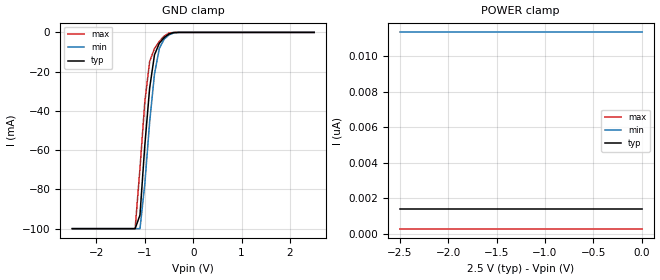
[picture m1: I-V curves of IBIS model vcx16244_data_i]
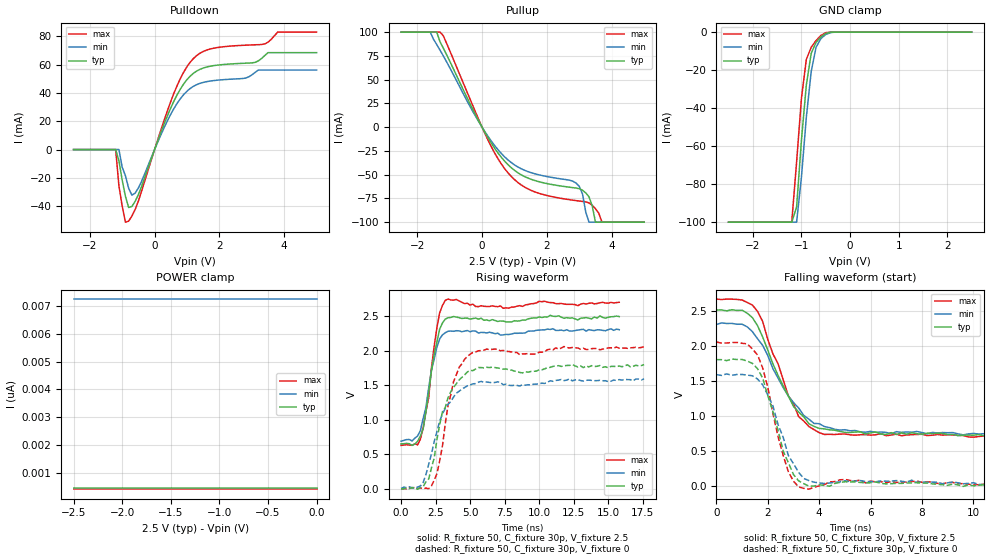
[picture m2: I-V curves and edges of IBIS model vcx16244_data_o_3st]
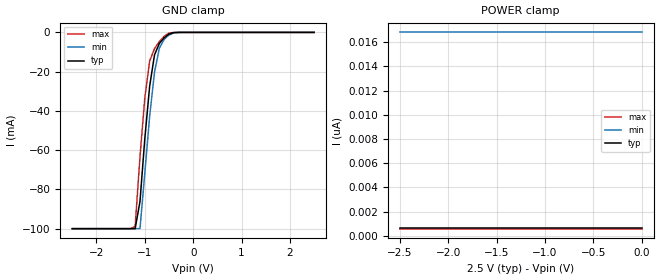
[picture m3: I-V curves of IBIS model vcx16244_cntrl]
|   ON Semiconductor Corporation
|   IBIS Model of 74VCX16244DT
|   Low Voltage 16-Bit Buffer/Line Driver
|   TSSOP_48 (DT) Package Type
[IBIS Ver]   3.2
[Comment Char]   |_char
[File name]   74vcx16244dt_230.ibs
[File Rev]   1.0
[Date]   11/18/02
[Source]
From lab measurements at ON Semiconductor
[Notes]
Created by Duane Mattheisen
Modeling Support Engineer
| This model represents the 74VCX16244DT where 2.30 <= Vcc =< 2.70
[Disclaimer]
ON Semiconductor Corporation hereby grants
the user of this IBIS model a license to use this IBIS
model under the following terms. This license in non-exclusive
and non-transferable. Before using this IBIS model. After reading
the terms and conditions of this license, the user either must accept
these terms, or the IBIS model should be returned to ON within 30 days.
     The user is hereby granted a license to use the
IBIS model. This shall not be construed as a right to sell, or otherwise
profit either by leasing or renting this software.
     The user may modify the IBIS model to suit his specific applications
but rights to derivative works and such modifications shall belong to
ON Semiconductor.
     This IBIS model is provided on an "as is" basis. ON Semiconductor
makes absolutely no warranty with respect to the information contained
herein. By use of this IBIS model, the user assumes full risk as to the
quality and suitability of the model to his particular use, and by using
this model assumes the entire risk. Under all circumstances the user shall
not hold ON Semiconductor liable in any way for the results obtained. ON
Semiconductor reserves the right to make to improve the model for reliability,
function, or design. ON Semiconductor does not convey any license under patent
rights or any other intellectual property rights, including those of third
parties.
ON Semiconductor is not obligated to provide maintenance or support
for the licensed IBIS model.
Cont ON at ATTN:LOGIC APPLICATIONS/IBIS MODEL.
5005 E. McDowell Road, Phoenix AZ 85008
[Copyright]
(c) 2002 ON Semiconductor Corp.
[Component]   74VCX16244
Si_location Pin
Timing_location Pin
[Manufacturer]   ON Semiconductor Corp.
[Package]
R_pkg   130m   100m   140m
L_pkg   3.06n   1.37n   3.57n
C_pkg   0.15p   0.10p   0.20p
[Pin] signal_name   model_name   R_pin   L_pin   C_pin
1   OE1   vcx16244_cntrl   140m   3.56n   .2p
2   O0   vcx16244_data_o_3st  130m   3.34n   .15p
3   o1   vcx16244_data_o_3st  130m   3.07n   .15p
4   GND   GND   130m   2.62n   .13p
5   O2   vcx16244_data_o_3st  120m   2.23n   .1p
6   O3   vcx16244_data_o_3st  120m   1.77n   .1p
7   VCC   POWER   110m   1.65n   .1p
8   O4   vcx16244_data_o_3st  100m   1.59n   .1p
9   O5   vcx16244_data_o_3st  100m   1.53n   .1p
10   GND   GND   100m   1.49n   .1p
11   O6   vcx16244_data_o_3st  100m   1.44n   .1p
12   O7   vcx16244_data_o_3st  100m   1.36n   .1p
13   O8   vcx16244_data_o_3st  100m   1.37n   .1p
14   O9   vcx16244_data_o_3st  100m   1.44n   .1p
15   GND   GND   100m   1.48n   .1p
16   O10   vcx16244_data_o_3st  100m   1.54n   .1p
17   O11   vcx16244_data_o_3st  100m   1.58n   .1p
18   VCC   POWER   110m   1.65n   .1p
19   O12   vcx16244_data_o_3st  120m   1.76n   .1p
20   O13   vcx16244_data_o_3st  120m   2.22n   .1p
21   GND   GND   130m   2.62n   .12p
22   O14   vcx16244_data_o_3st  130m   3.05n   .15p
23   O15   vcx16244_data_o_3st  130m   3.34n   .15p
24   OE4   vcx16244_cntrl   140m   3.57n   .2p
25   OE3   vcx16244_cntrl   140m   3.56n   .2p
26   I15   vcx16244_data_i   130m   3.34n   .25p
27   I14   vcx16244_data_i   130m   3.06n   .15p
28   GND   GND   130m   2.63n   .12p
29   I13   vcx16244_data_i   120m   2.23n   .1p
30   I12   vcx16244_data_i   120m   1.76n   .1p
31   VCC   POWER   110m   1.66n   .1p
32   I11   vcx16244_data_i   100m   1.59n   .1p
33   I10   vcx16244_data_i   100m   1.53n   .1p
34   GND   GND   100m   1.49n   .1p
35   I9   vcx16244_data_i   100m   1.45n   .1p
36   I8   vcx16244_data_i   100m   1.37n   .1p
37   I7   vcx16244_data_i   100m   1.37n   .1p
38   I6   vcx16244_data_i   100m   1.43n   .1p
39   GND   GND   100m   1.49n   .1p
40   I5   vcx16244_data_i   100m   1.54n   .1p
41   I4   vcx16244_data_i   100m   1.58n   .1p
42   VCC   POWER   110m   1.65n   .1p
43   I3   vcx16244_data_i   120m   1.76n   .1p
44   I2   vcx16244_data_i   120m   2.22n   .1p
45   GND   GND   130m   2.62n   .12p
46   I1   vcx16244_data_i   130m   3.05n   .15p
47   I0   vcx16244_data_i   130m   3.34n   .25p
48   OE2   vcx16244_cntrl   140m   3.58n   .2p
| Models and submodels in the file (3): vcx16244_data_i (Input), vcx16244_data_o_3st (3-state), vcx16244_cntrl (Input)
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[Model]   vcx16244_data_i
Model_type Input
Vinh=1.6
Vinl=0.7
C_comp   6p   6p   6p
[Temperature Range] 25   85   -40
[Voltage Range]   2.5   2.3   2.7
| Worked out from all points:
|   GND clamp passes 1 mA (typ) near -0.51 V on its own axis
[GND Clamp]
| VIN   IIN   IIN   IIN
-2.5V     -100mA     -100mA     -100mA
-1.2V     -100mA     -100mA     -100mA
-1.1V     -93.06mA   -100mA     -69.22mA
-1V       -57.53mA   -77.31mA   -35.45mA
-900mV    -28.31mA   -45.62mA   -14.76mA
-800mV    -11.42mA   -21.22mA   -8.219mA
-700mV    -5.531mA   -8.129mA   -4.574mA
-600mV    -2.616mA   -3.454mA   -1.848mA
-500mV    -786.4uA   -1.282mA   -342.5uA
-400mV    -92.71uA   -263.6uA   -14.63uA
-300mV    -4.006uA   -23.28uA   -208.6nA
2.5V      545.7pA    567.6pA    546.5pA
[POWER Clamp]
| VIN   IIN   IIN   IIN
-2.5V     1.37nA     11.33nA    279pA
-2.4V     1.37nA     11.33nA    279pA
-2.3V     1.37nA     11.33nA    279pA
0V        1.37nA     11.33nA    279pA
|Vmeasure is Vcc/2
[Model]   vcx16244_data_o_3st
Model_type 3-state
Enable Active-Low
Polarity Non-Inverting
Vref=0
Vmeas=1.25
Rref=500
Cref=30p
C_comp   7p   7p   7p
[Temperature Range] 25   85   -40
[Voltage Range]   2.5   2.3   2.7
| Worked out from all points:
|   slope of the pulldown table from 0 to 0.375 V, typ, clamps not added: 16.5 ohm
|   slope of the pullup table from 0 to 0.375 V, typ, clamps not added: 17.5 ohm
|   GND clamp passes 1 mA (typ) near -0.51 V on its own axis
|   falling waveform, R_fixture 50, C_fixture 30p, V_fixture 2.5: 20-80 % time 1.42ns typ, 1.53ns min, 1.25ns max; typ from 2.52 V to 0.691 V
|   falling waveform, R_fixture 50, C_fixture 30p, V_fixture 0: 20-80 % time 882ps typ, 949ps min, 783ps max; typ from 1.81 V to 0 V
|   rising waveform, R_fixture 50, C_fixture 30p, V_fixture 2.5: 20-80 % time 874ps typ, 925ps min, 827ps max; typ from 0.651 V to 2.49 V
|   rising waveform, R_fixture 50, C_fixture 30p, V_fixture 0: 20-80 % time 1.42ns typ, 1.68ns min, 1.19ns max; typ from 0.001 V to 1.8 V
[Pullup]
| VOUT   IOUT   IOUT   IOUT
-2.5V     99.99mA    99.99mA    99.99mA
-1.6V     99.99mA    99.99mA    99.99mA
-1.4V     99.99mA    86.93mA    99.99mA
-1.2V     83.37mA    75.17mA    96.38mA
300mV     -17.63mA   -15.38mA   -21.57mA
1.1V      -47.88mA   -41.81mA   -58.08mA
2.9V      -64.07mA   -58.87mA   -77.28mA
3.1V      -66.38mA   -70.44mA   -78.15mA
3.3V      -73.28mA   -100mA     -79.73mA
3.5V      -100mA     -100mA     -85.81mA
3.7V      -100mA     -100mA     -100mA
5V        -100mA     -100mA     -100mA
[Pulldown]
| VOUT   IOUT   IOUT   IOUT
-2.5V     998.4nA    998.4nA    0A
-1.2V     998.4nA    998.4nA    0A
-1.1V     -7.964mA   -1.997uA   -25.65mA
-1V       -21.43mA   -12.4mA    -39.83mA
-900mV    -32.97mA   -18.41mA   -51.29mA
-800mV    -40.92mA   -27.36mA   -50.55mA
-600mV    -36.59mA   -30.79mA   -42.36mA
600mV     34.35mA    29.07mA    39.93mA
1.2V      53.86mA    44.67mA    64.3mA
3.4V      66.38mA    56.12mA    74.58mA
3.8V      68.42mA    56.12mA    82.94mA
5V        68.42mA    56.12mA    82.94mA
[GND Clamp]
| VIN   IIN   IIN   IIN
-2.5V     -100mA     -100mA     -100mA
-1.2V     -100mA     -100mA     -100mA
-1.1V     -92.03mA   -100mA     -68.33mA
-1V       -56.69mA   -76.15mA   -34.71mA
-900mV    -27.85mA   -44.87mA   -14.38mA
-800mV    -11.2mA    -20.81mA   -8.006mA
-700mV    -5.438mA   -8.004mA   -4.461mA
-600mV    -2.547mA   -3.372mA   -1.774mA
-500mV    -755.7uA   -1.243mA   -317.2uA
-400mV    -86.16uA   -250.1uA   -12.76uA
-300mV    -3.507uA   -20.89uA   -167.7nA
2.5V      848.2pA    796.1pA    178.7pA
[POWER Clamp]
| VIN   IIN   IIN   IIN
-2.5V     447.2pA    7.254nA    408.3pA
-2.4V     447.2pA    7.254nA    408.3pA
-2.3V     447.2pA    7.254nA    408.3pA
0V        447.2pA    7.254nA    408.3pA
[Ramp]
dV/dt_r   1.113E+0/1.480E-9   9.600E-1/1.680E-9   1.180E+0/1.220E-9
dV/dt_f   1.110E+0/1.460E-9   9.900E-1/1.640E-9   1.210E+0/1.260E-9
[Falling Waveform]
R_fixture=50
C_fixture=30p
V_fixture=2.5
V_fixture_min=2.3
V_fixture_max=2.7
| Time   Typ   Min   Max
| SECONDS   VOLTS   VOLTS   VOLTS
0s        2.518V     2.311V     2.676V
1ns       2.515V     2.315V     2.662V
1.6ns     2.295V     2.107V     2.5V
2.4ns     1.579V     1.542V     1.747V
2.8ns     1.282V     1.284V     1.287V
3.2ns     1.053V     1.112V     988.1mV
3.6ns     885.9mV    951.4mV    846.4mV
4.2ns     812.3mV    846.2mV    733.3mV
6.8ns     759.1mV    742.8mV    725.2mV
16.6ns    690.9mV    709.4mV    665.6mV
[Falling Waveform]
R_fixture=50
C_fixture=30p
V_fixture=0
| Time   Typ   Min   Max
| SECONDS   VOLTS   VOLTS   VOLTS
0s        1.806V     1.592V     2.06V
1.2ns     1.786V     1.585V     2.034V
1.6ns     1.677V     1.529V     1.874V
2ns       1.289V     1.298V     1.408V
2.2ns     1.058V     1.141V     1.033V
2.6ns     491.1mV    690.2mV    429.1mV
2.8ns     327.2mV    429.2mV    197.5mV
3.2ns     66.66mV    188.5mV    -19.76mV
4.2ns     860.8uV    29.9mV     13.04mV
15.8ns    79.35uV    8.2mV      6.128mV
[Rising Waveform]
R_fixture=50
C_fixture=30p
V_fixture=2.5
V_fixture_min=2.3
V_fixture_max=2.7
| Time   Typ   Min   Max
| SECONDS   VOLTS   VOLTS   VOLTS
0s        651.4mV    690.2mV    629.1mV
800ps     629.2mV    693.9mV    630.4mV
1.4ns     766.1mV    842.4mV    719.2mV
1.6ns     867.7mV    1.019V     881.6mV
2ns       1.395V     1.463V     1.316V
2.2ns     1.708V     1.717V     1.751V
2.6ns     2.128V     2.055V     2.338V
3.2ns     2.458V     2.26V      2.73V
7.4ns     2.429V     2.23V      2.614V
15.8ns    2.494V     2.304V     2.702V
[Rising Waveform]
R_fixture=50
C_fixture=30p
V_fixture=0
| Time   Typ   Min   Max
| SECONDS   VOLTS   VOLTS   VOLTS
0s        878.2uV    5.256mV    2.771mV
1.4ns     17.88mV    40.94mV    13.68mV
2ns       143.4mV    354.7mV    2.129mV
2.2ns     303.3mV    504.4mV    41.93mV
2.6ns     716mV      831.5mV    222.1mV
3ns       1.119V     1.086V     623.6mV
3.4ns     1.32V      1.224V     1.209V
3.8ns     1.471V     1.328V     1.55V
5.2ns     1.712V     1.52V      1.975V
17.6ns    1.798V     1.594V     2.058V
[Model]   vcx16244_cntrl
Model_type Input
Vinh=1.6
Vinl=0.7
C_comp   6p   6p   6p
[Temperature Range] 25   85   -40
[Voltage Range]   2.5   2.3   2.7
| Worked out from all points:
|   GND clamp passes 1 mA (typ) near -0.51 V on its own axis
[GND Clamp]
| VIN   IIN   IIN   IIN
-2.5V     -100mA     -100mA     -100mA
-1.3V     -100mA     -100mA     -100mA
-1.2V     -100mA     -100mA     -98.89mA
-1.1V     -86.2mA    -100mA     -63.45mA
-1V       -54.1mA    -71.65mA   -33.34mA
-900mV    -27.41mA   -42.73mA   -14.56mA
-800mV    -11.49mA   -20.34mA   -8.268mA
-700mV    -5.643mA   -8.086mA   -4.665mA
-600mV    -2.721mA   -3.523mA   -1.942mA
-500mV    -856.5uA   -1.34mA    -387.8uA
-300mV    -5.232uA   -26.55uA   -306nA
2.5V      387.7pA    930pA      722.2pA
[POWER Clamp]
| VIN   IIN   IIN   IIN
-2.5V     603.9pA    16.8nA     589.9pA
-2.4V     603.9pA    16.8nA     589.9pA
-2.3V     603.9pA    16.8nA     589.9pA
0V        603.9pA    16.8nA     589.9pA
